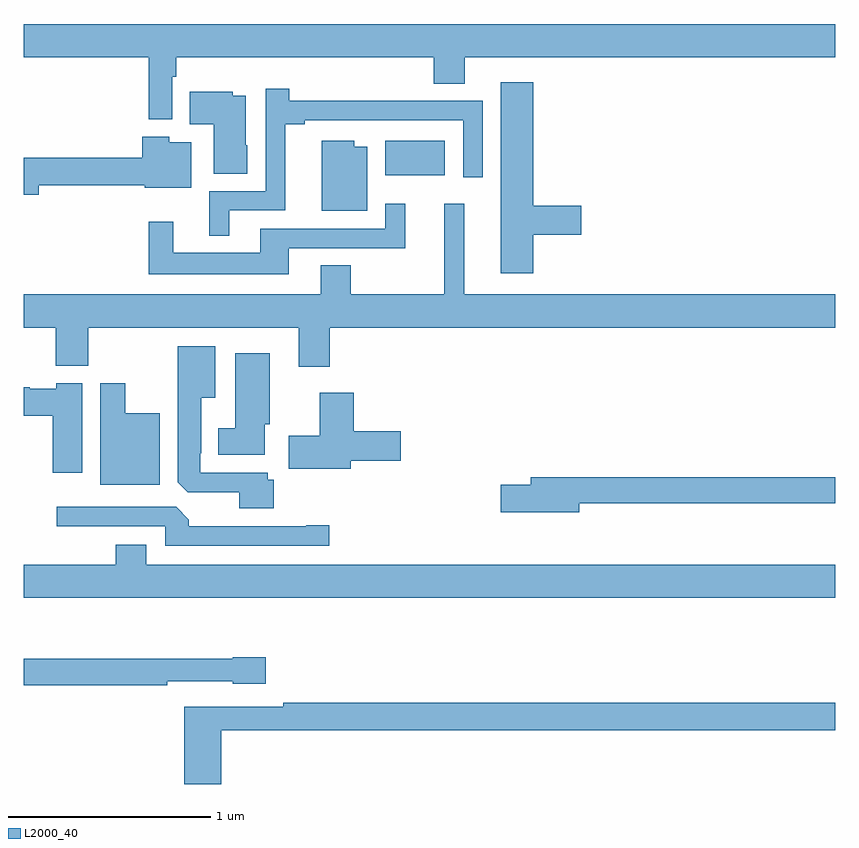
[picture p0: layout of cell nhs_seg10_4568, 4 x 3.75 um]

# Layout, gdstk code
import gdstk
lib = gdstk.Library(unit=1e-6, precision=1e-09)
def R(c, l, rs):  # rectangles x0, y0, x1, y1
    for r in rs: c.add(gdstk.rectangle(r[:2], r[2:], *l))
def P(c, l, *ps):  # polygons
    for p in ps: c.add(gdstk.Polygon(p, *l))
L2000_40 = (2000, 40)

nhs_seg10_4568 = lib.new_cell('nhs_seg10_4568')
R(nhs_seg10_4568, L2000_40, [(372.782,1319.714,373.075,1319.884)])
P(nhs_seg10_4568, L2000_40, [(371.733,1320.2),(371.753,1320.2),(371.753,1320.296),(373.022,1320.296),(373.022,1320.166),(373.174,1320.166),(373.174,1320.296),(375,1320.296),(375,1320.46),(371,1320.46),(371,1320.296),(371.617,1320.296),(371.617,1319.99),(371.733,1319.99)],
  [(373.511,1319.422),(373.747,1319.422),(373.747,1319.564),(373.511,1319.564),(373.511,1320.172),(373.352,1320.172),(373.352,1319.232),(373.511,1319.232)],
  [(372.013,1319.541),(372.29,1319.541),(372.29,1319.965),(372.385,1319.965),(372.385,1319.985),(373.167,1319.985),(373.167,1319.706),(373.263,1319.706),(373.263,1320.081),(372.938,1320.081),(372.938,1320.083),(372.308,1320.083),(372.308,1320.142),(372.192,1320.142),(372.192,1319.637),(371.915,1319.637),(371.915,1319.417),(372.013,1319.417)],
  [(372.103,1319.862),(372.094,1319.862),(372.094,1320.106),(372.03,1320.106),(372.03,1320.127),(371.818,1320.127),(371.818,1319.966),(371.936,1319.966),(371.936,1319.722),(372.103,1319.722)],
  [(371.074,1319.665),(371.597,1319.665),(371.597,1319.654),(371.827,1319.654),(371.827,1319.878),(371.718,1319.878),(371.718,1319.905),(371.585,1319.905),(371.585,1319.801),(371,1319.801),(371,1319.618),(371.074,1319.618)],
  [(372.694,1319.854),(372.628,1319.854),(372.628,1319.884),(372.47,1319.884),(372.47,1319.54),(372.694,1319.54)],
  [(372.307,1319.355),(372.881,1319.355),(372.881,1319.575),(372.783,1319.575),(372.783,1319.451),(372.167,1319.451),(372.167,1319.332),(371.737,1319.332),(371.737,1319.485),(371.616,1319.485),(371.616,1319.228),(372.307,1319.228)],
  [(372.509,1318.964),(375,1318.964),(375,1319.128),(373.172,1319.128),(373.172,1319.575),(373.073,1319.575),(373.073,1319.128),(372.612,1319.128),(372.612,1319.27),(372.464,1319.27),(372.464,1319.128),(371,1319.128),(371,1318.964),(371.159,1318.964),(371.159,1318.775),(371.319,1318.775),(371.319,1318.964),(372.356,1318.964),(372.356,1318.77),(372.509,1318.77)],
  [(372.233,1318.215),(372.202,1318.215),(372.202,1318.248),(371.871,1318.248),(371.871,1318.345),(371.875,1318.345),(371.875,1318.619),(371.944,1318.619),(371.944,1318.873),(371.759,1318.873),(371.759,1318.201),(371.808,1318.152),(372.062,1318.152),(372.062,1318.073),(372.233,1318.073)],
  [(372.187,1318.488),(372.214,1318.488),(372.214,1318.837),(372.044,1318.837),(372.044,1318.468),(371.96,1318.468),(371.96,1318.337),(372.187,1318.337)],
  [(371.671,1318.543),(371.5,1318.543),(371.5,1318.69),(371.378,1318.69),(371.378,1318.19),(371.671,1318.19)],
  [(371.29,1318.69),(371.16,1318.69),(371.16,1318.663),(371.03,1318.663),(371.03,1318.671),(371,1318.671),(371,1318.529),(371.144,1318.529),(371.144,1318.248),(371.29,1318.248)],
  [(372.613,1318.307),(372.859,1318.307),(372.859,1318.454),(372.626,1318.454),(372.626,1318.642),(372.458,1318.642),(372.458,1318.431),(372.306,1318.431),(372.306,1318.268),(372.613,1318.268)],
  [(373.738,1318.098),(375,1318.098),(375,1318.226),(373.499,1318.226),(373.499,1318.19),(373.35,1318.19),(373.35,1318.055),(373.738,1318.055)],
  [(372.505,1317.989),(372.392,1317.989),(372.392,1317.984),(371.813,1317.984),(371.813,1318.018),(371.751,1318.08),(371.163,1318.08),(371.163,1317.984),(371.697,1317.984),(371.697,1317.888),(372.505,1317.888)],
  [(375,1317.796),(371.605,1317.796),(371.605,1317.895),(371.453,1317.895),(371.453,1317.796),(371,1317.796),(371,1317.632),(375,1317.632)],
  [(371.708,1317.222),(372.03,1317.222),(372.03,1317.209),(372.193,1317.209),(372.193,1317.339),(372.03,1317.339),(372.03,1317.331),(371,1317.331),(371,1317.202),(371.708,1317.202)],
  [(371.975,1316.98),(375,1316.98),(375,1317.116),(372.28,1317.116),(372.28,1317.096),(371.792,1317.096),(371.792,1316.715),(371.975,1316.715)])

lib.write_gds('nhs_seg10_4568.gds')
